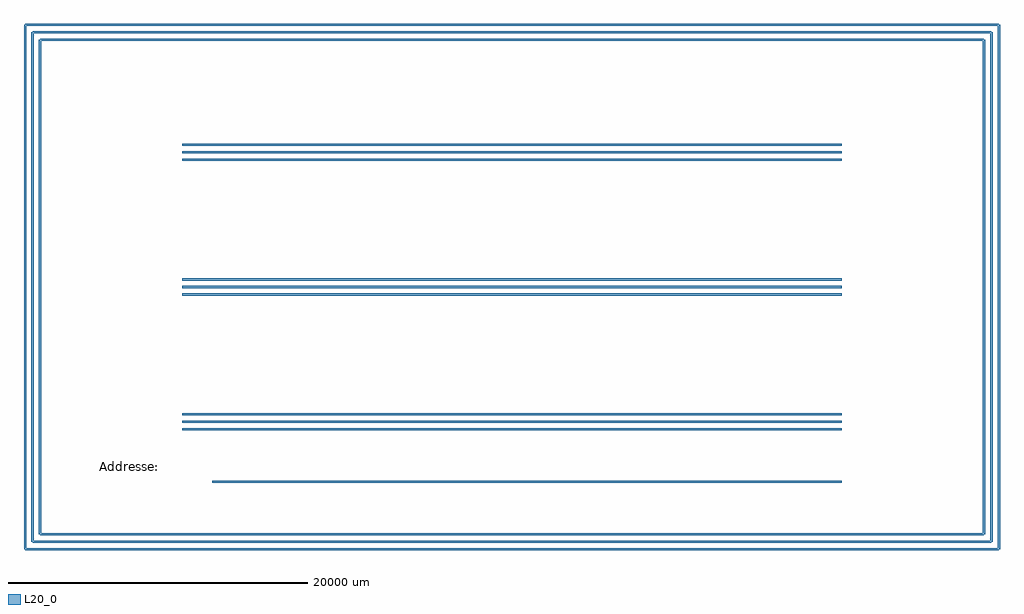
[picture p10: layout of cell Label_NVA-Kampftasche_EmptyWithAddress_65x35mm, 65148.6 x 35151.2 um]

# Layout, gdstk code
import gdstk
lib = gdstk.Library(unit=1e-6, precision=1e-09)
L20_0 = (20, 0)

label_nva_kampftasche_em = lib.new_cell('Label_NVA-Kampftasche_EmptyWithAddress_65x35mm')
label_nva_kampftasche_em.add(gdstk.FlexPath([(-32499.3,-17500.6),(0,-17500.6)], 149.998, ends="flush", simple_path=True, layer=20, datatype=0))  # L20_0
label_nva_kampftasche_em.add(gdstk.FlexPath([(-32499.3,17500.6),(-32499.3,-17500.6)], 149.998, ends="flush", simple_path=True, layer=20, datatype=0))  # L20_0
label_nva_kampftasche_em.add(gdstk.FlexPath([(32499.3,17500.6),(-32499.3,17500.6)], 149.998, ends="flush", simple_path=True, layer=20, datatype=0))  # L20_0
label_nva_kampftasche_em.add(gdstk.FlexPath([(32499.3,-17500.6),(32499.3,17500.6)], 149.998, ends="flush", simple_path=True, layer=20, datatype=0))  # L20_0
label_nva_kampftasche_em.add(gdstk.FlexPath([(0,-17500.6),(32499.3,-17500.6)], 149.998, ends="flush", simple_path=True, layer=20, datatype=0))  # L20_0
label_nva_kampftasche_em.add(gdstk.FlexPath([(-31998.92,-17000.22),(-31998.92,17000.22)], 149.998, ends="flush", simple_path=True, layer=20, datatype=0))  # L20_0
label_nva_kampftasche_em.add(gdstk.FlexPath([(31998.92,-17000.22),(-31998.92,-17000.22)], 149.998, ends="flush", simple_path=True, layer=20, datatype=0))  # L20_0
label_nva_kampftasche_em.add(gdstk.FlexPath([(31998.92,17000.22),(31998.92,-17000.22)], 149.998, ends="flush", simple_path=True, layer=20, datatype=0))  # L20_0
label_nva_kampftasche_em.add(gdstk.FlexPath([(-31998.92,17000.22),(31998.92,17000.22)], 149.998, ends="flush", simple_path=True, layer=20, datatype=0))  # L20_0
label_nva_kampftasche_em.add(gdstk.FlexPath([(-31501.08,-16499.84),(-31501.08,16499.84)], 149.998, ends="flush", simple_path=True, layer=20, datatype=0))  # L20_0
label_nva_kampftasche_em.add(gdstk.FlexPath([(31501.08,-16499.84),(-31501.08,-16499.84)], 149.998, ends="flush", simple_path=True, layer=20, datatype=0))  # L20_0
label_nva_kampftasche_em.add(gdstk.FlexPath([(31501.08,16499.84),(31501.08,-16499.84)], 149.998, ends="flush", simple_path=True, layer=20, datatype=0))  # L20_0
label_nva_kampftasche_em.add(gdstk.FlexPath([(-31501.08,16499.84),(31501.08,16499.84)], 149.998, ends="flush", simple_path=True, layer=20, datatype=0))  # L20_0
label_nva_kampftasche_em.add(gdstk.FlexPath([(-21998.94,0),(21998.94,0)], 149.998, ends="flush", simple_path=True, layer=20, datatype=0))  # L20_0
label_nva_kampftasche_em.add(gdstk.FlexPath([(-21998.94,500.38),(21998.94,500.38)], 149.998, ends="flush", simple_path=True, layer=20, datatype=0))  # L20_0
label_nva_kampftasche_em.add(gdstk.FlexPath([(-21998.94,-500.38),(21998.94,-500.38)], 149.998, ends="flush", simple_path=True, layer=20, datatype=0))  # L20_0
label_nva_kampftasche_em.add(gdstk.FlexPath([(-21998.94,8999.22),(21998.94,8999.22)], 149.998, ends="flush", simple_path=True, layer=20, datatype=0))  # L20_0
label_nva_kampftasche_em.add(gdstk.FlexPath([(21998.94,9499.6),(-21998.94,9499.6)], 149.998, ends="flush", simple_path=True, layer=20, datatype=0))  # L20_0
label_nva_kampftasche_em.add(gdstk.FlexPath([(-21998.94,8498.84),(21998.94,8498.84)], 149.998, ends="flush", simple_path=True, layer=20, datatype=0))  # L20_0
label_nva_kampftasche_em.add(gdstk.FlexPath([(21998.94,-8999.22),(-21998.94,-8999.22)], 149.998, ends="flush", simple_path=True, layer=20, datatype=0))  # L20_0
label_nva_kampftasche_em.add(gdstk.FlexPath([(-21998.94,-8498.84),(21998.94,-8498.84)], 149.998, ends="flush", simple_path=True, layer=20, datatype=0))  # L20_0
label_nva_kampftasche_em.add(gdstk.FlexPath([(21998.94,-9499.6),(-21998.94,-9499.6)], 149.998, ends="flush", simple_path=True, layer=20, datatype=0))  # L20_0
label_nva_kampftasche_em.add(gdstk.FlexPath([(-19999.96,-12999.72),(21998.94,-12999.72)], 149.998, ends="flush", simple_path=True, layer=20, datatype=0))  # L20_0
label_nva_kampftasche_em.add(gdstk.Label('Addresse:', (-25499.06,-11998.96), layer=9, texttype=0))
label_nva_kampftasche_em.add(gdstk.Label('type', (0,-19499.58), layer=9, texttype=0))
label_nva_kampftasche_em.add(gdstk.Label('devicename', (0,19999.96), layer=9, texttype=0))

lib.write_gds('Label_NVA-Kampftasche_EmptyWithAddress_65x35mm.gds')
